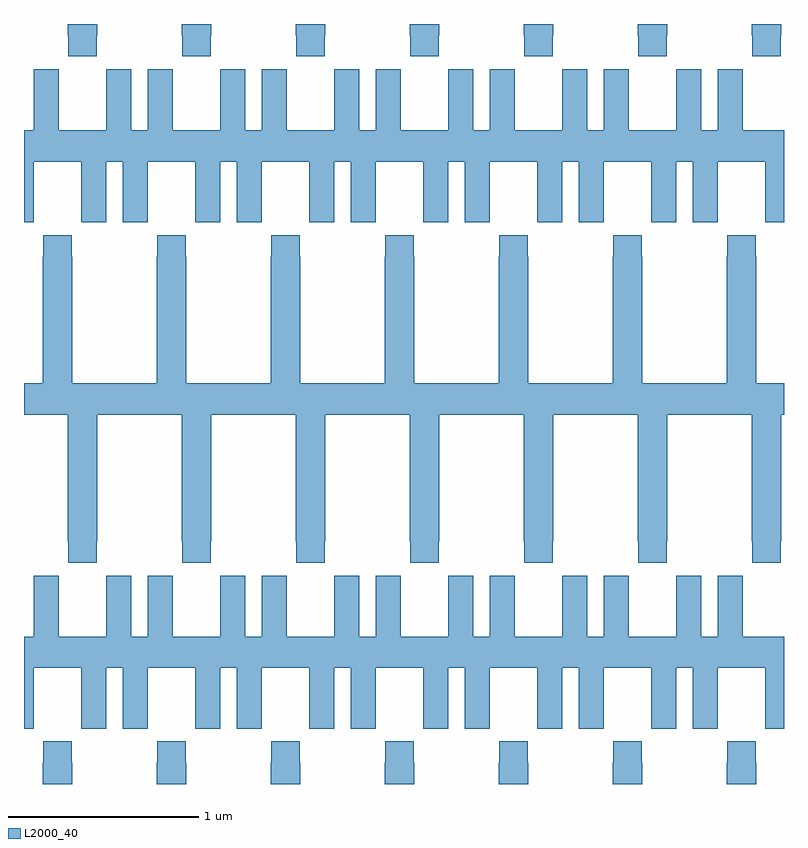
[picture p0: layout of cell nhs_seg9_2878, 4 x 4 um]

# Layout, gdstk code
import gdstk
lib = gdstk.Library(unit=1e-6, precision=1e-09)
def P(c, l, *ps):  # polygons
    for p in ps: c.add(gdstk.Polygon(p, *l))
L2000_40 = (2000, 40)

nhs_seg9_2878 = lib.new_cell('nhs_seg9_2878')
P(nhs_seg9_2878, L2000_40, [(278.583,1174.441),(278.586,1174.441),(278.586,1174.5),(278.431,1174.5),(278.431,1174.441),(278.433,1174.441),(278.433,1174.329),(278.583,1174.329)],
  [(279.183,1174.441),(279.186,1174.441),(279.186,1174.5),(279.031,1174.5),(279.031,1174.441),(279.033,1174.441),(279.033,1174.329),(279.183,1174.329)],
  [(279.783,1174.441),(279.786,1174.441),(279.786,1174.5),(279.631,1174.5),(279.631,1174.441),(279.633,1174.441),(279.633,1174.329),(279.783,1174.329)],
  [(280.383,1174.441),(280.386,1174.441),(280.386,1174.5),(280.231,1174.5),(280.231,1174.441),(280.233,1174.441),(280.233,1174.329),(280.383,1174.329)],
  [(280.983,1174.441),(280.986,1174.441),(280.986,1174.5),(280.831,1174.5),(280.831,1174.441),(280.833,1174.441),(280.833,1174.329),(280.983,1174.329)],
  [(277.383,1174.441),(277.386,1174.441),(277.386,1174.5),(277.231,1174.5),(277.231,1174.441),(277.233,1174.441),(277.233,1174.329),(277.383,1174.329)],
  [(277.983,1174.441),(277.986,1174.441),(277.986,1174.5),(277.831,1174.5),(277.831,1174.441),(277.833,1174.441),(277.833,1174.329),(277.983,1174.329)],
  [(277.901,1173.568),(277.902,1173.568),(277.902,1173.456),(278.032,1173.456),(278.032,1173.776),(278.12,1173.776),(278.12,1173.456),(278.25,1173.456),(278.25,1173.568),(278.251,1173.568),(278.251,1173.776),(278.501,1173.776),(278.501,1173.568),(278.502,1173.568),(278.502,1173.456),(278.632,1173.456),(278.632,1173.776),(278.72,1173.776),(278.72,1173.456),(278.85,1173.456),(278.85,1173.568),(278.851,1173.568),(278.851,1173.776),(279.101,1173.776),(279.101,1173.568),(279.102,1173.568),(279.102,1173.456),(279.232,1173.456),(279.232,1173.776),(279.32,1173.776),(279.32,1173.456),(279.45,1173.456),(279.45,1173.568),(279.451,1173.568),(279.451,1173.776),(279.701,1173.776),(279.701,1173.568),(279.702,1173.568),(279.702,1173.456),(279.832,1173.456),(279.832,1173.776),(279.92,1173.776),(279.92,1173.456),(280.05,1173.456),(280.05,1173.568),(280.051,1173.568),(280.051,1173.776),(280.301,1173.776),(280.301,1173.568),(280.302,1173.568),(280.302,1173.456),(280.432,1173.456),(280.432,1173.776),(280.52,1173.776),(280.52,1173.456),(280.65,1173.456),(280.65,1173.568),(280.651,1173.568),(280.651,1173.776),(280.901,1173.776),(280.901,1173.568),(280.902,1173.568),(280.902,1173.456),(281,1173.456),(281,1173.94),(280.783,1173.94),(280.783,1174.148),(280.782,1174.148),(280.782,1174.261),(280.652,1174.261),(280.652,1173.94),(280.564,1173.94),(280.564,1174.261),(280.434,1174.261),(280.434,1174.148),(280.433,1174.148),(280.433,1173.94),(280.183,1173.94),(280.183,1174.148),(280.182,1174.148),(280.182,1174.261),(280.052,1174.261),(280.052,1173.94),(279.964,1173.94),(279.964,1174.261),(279.834,1174.261),(279.834,1174.148),(279.833,1174.148),(279.833,1173.94),(279.583,1173.94),(279.583,1174.148),(279.582,1174.148),(279.582,1174.261),(279.452,1174.261),(279.452,1173.94),(279.364,1173.94),(279.364,1174.261),(279.234,1174.261),(279.234,1174.148),(279.233,1174.148),(279.233,1173.94),(278.983,1173.94),(278.983,1174.148),(278.982,1174.148),(278.982,1174.261),(278.852,1174.261),(278.852,1173.94),(278.764,1173.94),(278.764,1174.261),(278.634,1174.261),(278.634,1174.148),(278.633,1174.148),(278.633,1173.94),(278.383,1173.94),(278.383,1174.148),(278.382,1174.148),(278.382,1174.261),(278.252,1174.261),(278.252,1173.94),(278.164,1173.94),(278.164,1174.261),(278.034,1174.261),(278.034,1174.148),(278.033,1174.148),(278.033,1173.94),(277.783,1173.94),(277.783,1174.148),(277.782,1174.148),(277.782,1174.261),(277.652,1174.261),(277.652,1173.94),(277.564,1173.94),(277.564,1174.261),(277.434,1174.261),(277.434,1174.148),(277.433,1174.148),(277.433,1173.94),(277.183,1173.94),(277.183,1174.148),(277.182,1174.148),(277.182,1174.261),(277.052,1174.261),(277.052,1173.94),(277,1173.94),(277,1173.456),(277.05,1173.456),(277.05,1173.568),(277.051,1173.568),(277.051,1173.776),(277.301,1173.776),(277.301,1173.568),(277.302,1173.568),(277.302,1173.456),(277.432,1173.456),(277.432,1173.776),(277.52,1173.776),(277.52,1173.456),(277.65,1173.456),(277.65,1173.568),(277.651,1173.568),(277.651,1173.776),(277.901,1173.776)],
  [(278.454,1173.275),(278.451,1173.275),(278.451,1173.388),(278.301,1173.388),(278.301,1173.275),(278.299,1173.275),(278.299,1172.608),(277.854,1172.608),(277.854,1173.275),(277.851,1173.275),(277.851,1173.388),(277.701,1173.388),(277.701,1173.275),(277.699,1173.275),(277.699,1172.608),(277.254,1172.608),(277.254,1173.275),(277.251,1173.275),(277.251,1173.388),(277.101,1173.388),(277.101,1173.275),(277.099,1173.275),(277.099,1172.608),(277,1172.608),(277,1172.444),(277.231,1172.444),(277.231,1171.777),(277.233,1171.777),(277.233,1171.665),(277.383,1171.665),(277.383,1171.777),(277.386,1171.777),(277.386,1172.444),(277.831,1172.444),(277.831,1171.777),(277.833,1171.777),(277.833,1171.665),(277.983,1171.665),(277.983,1171.777),(277.986,1171.777),(277.986,1172.444),(278.431,1172.444),(278.431,1171.777),(278.433,1171.777),(278.433,1171.665),(278.583,1171.665),(278.583,1171.777),(278.586,1171.777),(278.586,1172.444),(279.031,1172.444),(279.031,1171.777),(279.033,1171.777),(279.033,1171.665),(279.183,1171.665),(279.183,1171.777),(279.186,1171.777),(279.186,1172.444),(279.631,1172.444),(279.631,1171.777),(279.633,1171.777),(279.633,1171.665),(279.783,1171.665),(279.783,1171.777),(279.786,1171.777),(279.786,1172.444),(280.231,1172.444),(280.231,1171.777),(280.233,1171.777),(280.233,1171.665),(280.383,1171.665),(280.383,1171.777),(280.386,1171.777),(280.386,1172.444),(280.831,1172.444),(280.831,1171.777),(280.833,1171.777),(280.833,1171.665),(280.983,1171.665),(280.983,1171.777),(280.986,1171.777),(280.986,1172.444),(281,1172.444),(281,1172.608),(280.854,1172.608),(280.854,1173.275),(280.851,1173.275),(280.851,1173.388),(280.701,1173.388),(280.701,1173.275),(280.699,1173.275),(280.699,1172.608),(280.254,1172.608),(280.254,1173.275),(280.251,1173.275),(280.251,1173.388),(280.101,1173.388),(280.101,1173.275),(280.099,1173.275),(280.099,1172.608),(279.654,1172.608),(279.654,1173.275),(279.651,1173.275),(279.651,1173.388),(279.501,1173.388),(279.501,1173.275),(279.499,1173.275),(279.499,1172.608),(279.054,1172.608),(279.054,1173.275),(279.051,1173.275),(279.051,1173.388),(278.901,1173.388),(278.901,1173.275),(278.899,1173.275),(278.899,1172.608),(278.454,1172.608)],
  [(279.364,1171.597),(279.234,1171.597),(279.234,1171.484),(279.233,1171.484),(279.233,1171.276),(278.983,1171.276),(278.983,1171.484),(278.982,1171.484),(278.982,1171.597),(278.852,1171.597),(278.852,1171.276),(278.764,1171.276),(278.764,1171.597),(278.634,1171.597),(278.634,1171.484),(278.633,1171.484),(278.633,1171.276),(278.383,1171.276),(278.383,1171.484),(278.382,1171.484),(278.382,1171.597),(278.252,1171.597),(278.252,1171.276),(278.164,1171.276),(278.164,1171.597),(278.034,1171.597),(278.034,1171.484),(278.033,1171.484),(278.033,1171.276),(277.783,1171.276),(277.783,1171.484),(277.782,1171.484),(277.782,1171.597),(277.652,1171.597),(277.652,1171.276),(277.564,1171.276),(277.564,1171.597),(277.434,1171.597),(277.434,1171.484),(277.433,1171.484),(277.433,1171.276),(277.183,1171.276),(277.183,1171.484),(277.182,1171.484),(277.182,1171.597),(277.052,1171.597),(277.052,1171.276),(277,1171.276),(277,1170.792),(277.05,1170.792),(277.05,1170.904),(277.051,1170.904),(277.051,1171.112),(277.301,1171.112),(277.301,1170.904),(277.302,1170.904),(277.302,1170.792),(277.432,1170.792),(277.432,1171.112),(277.52,1171.112),(277.52,1170.792),(277.65,1170.792),(277.65,1170.904),(277.651,1170.904),(277.651,1171.112),(277.901,1171.112),(277.901,1170.904),(277.902,1170.904),(277.902,1170.792),(278.032,1170.792),(278.032,1171.112),(278.12,1171.112),(278.12,1170.792),(278.25,1170.792),(278.25,1170.904),(278.251,1170.904),(278.251,1171.112),(278.501,1171.112),(278.501,1170.904),(278.502,1170.904),(278.502,1170.792),(278.632,1170.792),(278.632,1171.112),(278.72,1171.112),(278.72,1170.792),(278.85,1170.792),(278.85,1170.904),(278.851,1170.904),(278.851,1171.112),(279.101,1171.112),(279.101,1170.904),(279.102,1170.904),(279.102,1170.792),(279.232,1170.792),(279.232,1171.112),(279.32,1171.112),(279.32,1170.792),(279.45,1170.792),(279.45,1170.904),(279.451,1170.904),(279.451,1171.112),(279.701,1171.112),(279.701,1170.904),(279.702,1170.904),(279.702,1170.792),(279.832,1170.792),(279.832,1171.112),(279.92,1171.112),(279.92,1170.792),(280.05,1170.792),(280.05,1170.904),(280.051,1170.904),(280.051,1171.112),(280.301,1171.112),(280.301,1170.904),(280.302,1170.904),(280.302,1170.792),(280.432,1170.792),(280.432,1171.112),(280.52,1171.112),(280.52,1170.792),(280.65,1170.792),(280.65,1170.904),(280.651,1170.904),(280.651,1171.112),(280.901,1171.112),(280.901,1170.904),(280.902,1170.904),(280.902,1170.792),(281,1170.792),(281,1171.276),(280.783,1171.276),(280.783,1171.484),(280.782,1171.484),(280.782,1171.597),(280.652,1171.597),(280.652,1171.276),(280.564,1171.276),(280.564,1171.597),(280.434,1171.597),(280.434,1171.484),(280.433,1171.484),(280.433,1171.276),(280.183,1171.276),(280.183,1171.484),(280.182,1171.484),(280.182,1171.597),(280.052,1171.597),(280.052,1171.276),(279.964,1171.276),(279.964,1171.597),(279.834,1171.597),(279.834,1171.484),(279.833,1171.484),(279.833,1171.276),(279.583,1171.276),(279.583,1171.484),(279.582,1171.484),(279.582,1171.597),(279.452,1171.597),(279.452,1171.276),(279.364,1171.276)],
  [(278.454,1170.611),(278.451,1170.611),(278.451,1170.724),(278.301,1170.724),(278.301,1170.611),(278.299,1170.611),(278.299,1170.5),(278.454,1170.5)],
  [(279.054,1170.611),(279.051,1170.611),(279.051,1170.724),(278.901,1170.724),(278.901,1170.611),(278.899,1170.611),(278.899,1170.5),(279.054,1170.5)],
  [(279.654,1170.611),(279.651,1170.611),(279.651,1170.724),(279.501,1170.724),(279.501,1170.611),(279.499,1170.611),(279.499,1170.5),(279.654,1170.5)],
  [(280.254,1170.611),(280.251,1170.611),(280.251,1170.724),(280.101,1170.724),(280.101,1170.611),(280.099,1170.611),(280.099,1170.5),(280.254,1170.5)],
  [(280.854,1170.611),(280.851,1170.611),(280.851,1170.724),(280.701,1170.724),(280.701,1170.611),(280.699,1170.611),(280.699,1170.5),(280.854,1170.5)],
  [(277.254,1170.611),(277.251,1170.611),(277.251,1170.724),(277.101,1170.724),(277.101,1170.611),(277.099,1170.611),(277.099,1170.5),(277.254,1170.5)],
  [(277.854,1170.611),(277.851,1170.611),(277.851,1170.724),(277.701,1170.724),(277.701,1170.611),(277.699,1170.611),(277.699,1170.5),(277.854,1170.5)])

lib.write_gds('nhs_seg9_2878.gds')
